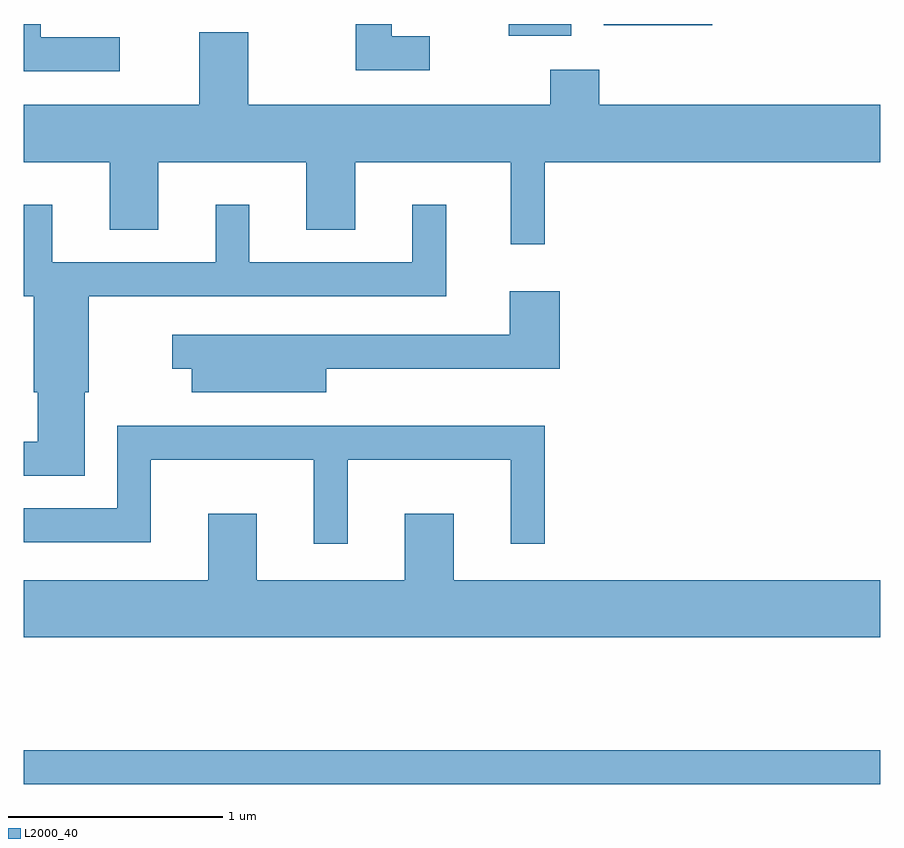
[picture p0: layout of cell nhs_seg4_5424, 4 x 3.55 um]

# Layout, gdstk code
import gdstk
lib = gdstk.Library(unit=1e-6, precision=1e-09)
def R(c, l, rs):  # rectangles x0, y0, x1, y1
    for r in rs: c.add(gdstk.rectangle(r[:2], r[2:], *l))
def P(c, l, *ps):  # polygons
    for p in ps: c.add(gdstk.Polygon(p, *l))
L2000_40 = (2000, 40)

nhs_seg4_5424 = lib.new_cell('nhs_seg4_5424')
R(nhs_seg4_5424, L2000_40, [(343.611,1358.431,347.611,1358.589), (345.876,1361.926,346.169,1361.982), (346.321,1361.976,346.828,1361.982)])
P(nhs_seg4_5424, L2000_40, [(345.508,1361.924),(345.329,1361.924),(345.329,1361.982),(345.161,1361.982),(345.161,1361.766),(345.508,1361.766)],
  [(344.058,1361.919),(343.689,1361.919),(343.689,1361.982),(343.611,1361.982),(343.611,1361.761),(344.058,1361.761)],
  [(346.044,1361.336),(347.611,1361.336),(347.611,1361.604),(346.299,1361.604),(346.299,1361.769),(346.071,1361.769),(346.071,1361.604),(344.659,1361.604),(344.659,1361.944),(344.431,1361.944),(344.431,1361.604),(343.611,1361.604),(343.611,1361.336),(344.011,1361.336),(344.011,1361.021),(344.239,1361.021),(344.239,1361.336),(344.931,1361.336),(344.931,1361.021),(345.159,1361.021),(345.159,1361.336),(345.886,1361.336),(345.886,1360.953),(346.044,1360.953)],
  [(343.894,1360.261),(343.914,1360.261),(343.914,1360.711),(345.584,1360.711),(345.584,1361.138),(345.426,1361.138),(345.426,1360.869),(344.664,1360.869),(344.664,1361.138),(344.506,1361.138),(344.506,1360.869),(343.744,1360.869),(343.744,1361.138),(343.611,1361.138),(343.611,1360.711),(343.656,1360.711),(343.656,1360.261),(343.676,1360.261),(343.676,1360.029),(343.611,1360.029),(343.611,1359.871),(343.894,1359.871)],
  [(345.024,1360.371),(346.114,1360.371),(346.114,1360.734),(345.881,1360.734),(345.881,1360.529),(344.303,1360.529),(344.303,1360.371),(344.396,1360.371),(344.396,1360.261),(345.024,1360.261)],
  [(345.124,1359.946),(345.886,1359.946),(345.886,1359.553),(346.044,1359.553),(346.044,1360.104),(344.046,1360.104),(344.046,1359.719),(343.611,1359.719),(343.611,1359.561),(344.204,1359.561),(344.204,1359.946),(344.966,1359.946),(344.966,1359.553),(345.124,1359.553)],
  [(347.611,1359.384),(345.619,1359.384),(345.619,1359.694),(345.391,1359.694),(345.391,1359.384),(344.699,1359.384),(344.699,1359.694),(344.471,1359.694),(344.471,1359.384),(343.611,1359.384),(343.611,1359.116),(347.611,1359.116)])

lib.write_gds('nhs_seg4_5424.gds')
